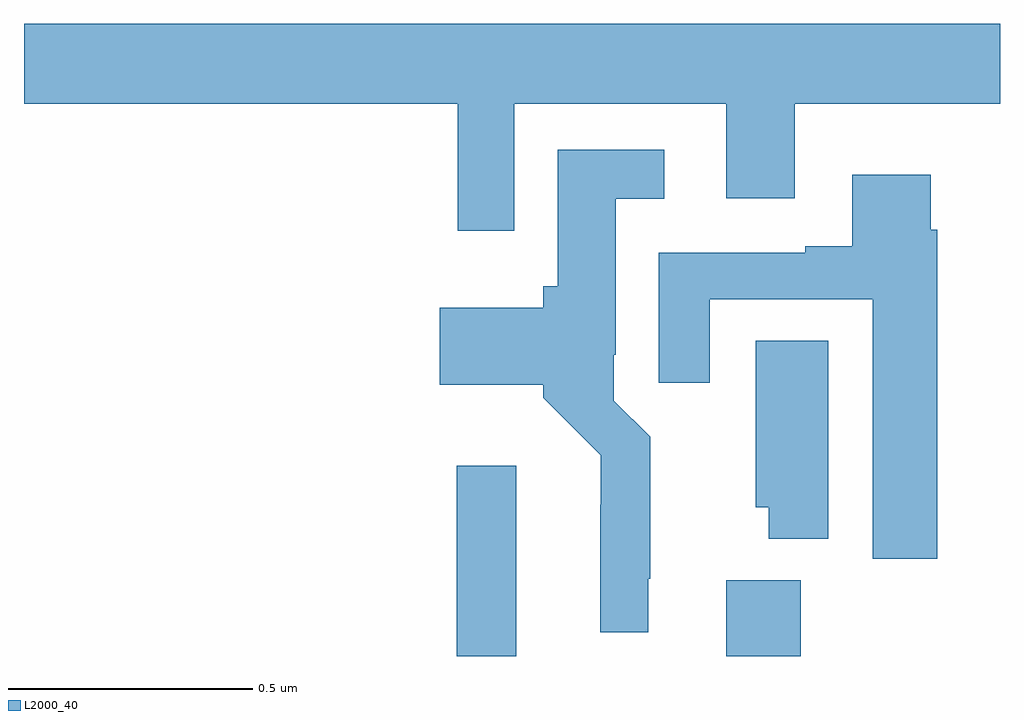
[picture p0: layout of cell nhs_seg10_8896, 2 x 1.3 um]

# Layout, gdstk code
import gdstk
lib = gdstk.Library(unit=1e-6, precision=1e-09)
def R(c, l, rs):  # rectangles x0, y0, x1, y1
    for r in rs: c.add(gdstk.rectangle(r[:2], r[2:], *l))
def P(c, l, *ps):  # polygons
    for p in ps: c.add(gdstk.Polygon(p, *l))
L2000_40 = (2000, 40)

nhs_seg10_8896 = lib.new_cell('nhs_seg10_8896')
R(nhs_seg10_8896, L2000_40, [(222.887,1316.5,223.009,1316.89), (223.439,1316.5,223.592,1316.656)])
P(nhs_seg10_8896, L2000_40, [(223.005,1317.632),(223.439,1317.632),(223.439,1317.438),(223.579,1317.438),(223.579,1317.632),(224,1317.632),(224,1317.796),(222,1317.796),(222,1317.632),(222.889,1317.632),(222.889,1317.372),(223.005,1317.372)],
  [(223.279,1316.659),(223.283,1316.659),(223.283,1316.95),(223.209,1317.024),(223.209,1317.118),(223.213,1317.118),(223.213,1317.437),(223.312,1317.437),(223.312,1317.538),(223.094,1317.538),(223.094,1317.258),(223.064,1317.258),(223.064,1317.214),(222.852,1317.214),(222.852,1317.056),(223.064,1317.056),(223.064,1317.03),(223.182,1316.912),(223.182,1316.81),(223.181,1316.81),(223.181,1316.549),(223.279,1316.549)],
  [(223.871,1317.374),(223.858,1317.374),(223.858,1317.487),(223.697,1317.487),(223.697,1317.34),(223.601,1317.34),(223.601,1317.327),(223.301,1317.327),(223.301,1317.06),(223.405,1317.06),(223.405,1317.231),(223.739,1317.231),(223.739,1316.7),(223.871,1316.7)],
  [(223.648,1317.146),(223.499,1317.146),(223.499,1316.805),(223.526,1316.805),(223.526,1316.741),(223.648,1316.741)])

lib.write_gds('nhs_seg10_8896.gds')
